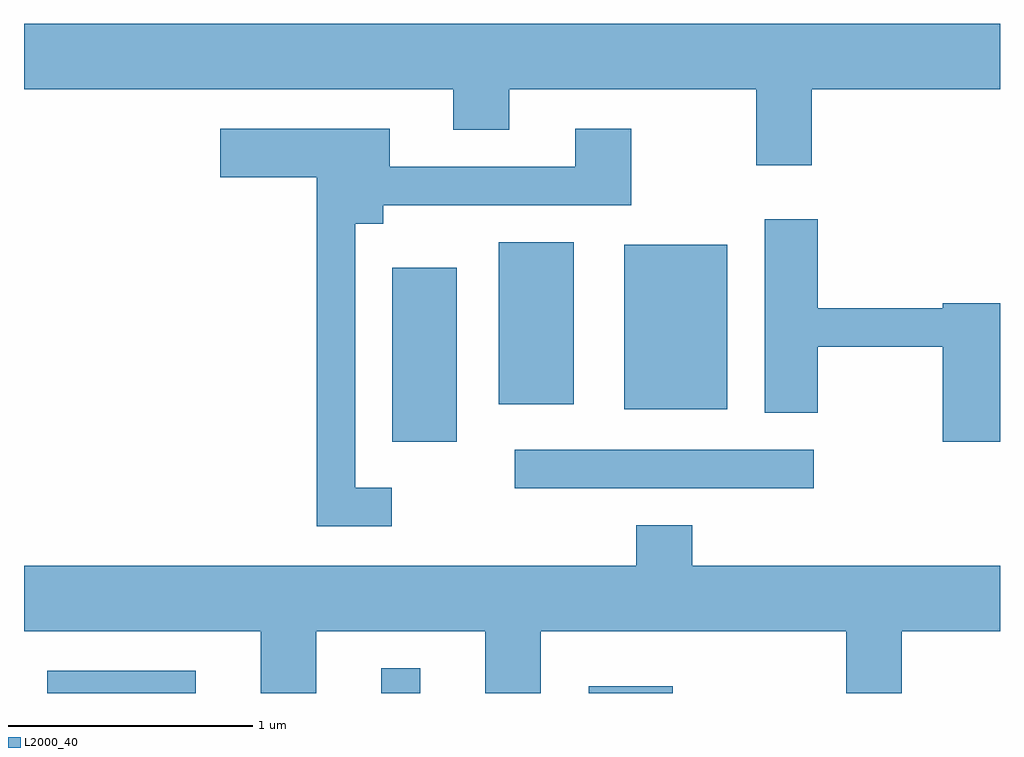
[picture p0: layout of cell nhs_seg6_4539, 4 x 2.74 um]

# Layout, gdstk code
import gdstk
lib = gdstk.Library(unit=1e-6, precision=1e-09)
def R(c, l, rs):  # rectangles x0, y0, x1, y1
    for r in rs: c.add(gdstk.rectangle(r[:2], r[2:], *l))
def P(c, l, *ps):  # polygons
    for p in ps: c.add(gdstk.Polygon(p, *l))
L2000_40 = (2000, 40)

nhs_seg6_4539 = lib.new_cell('nhs_seg6_4539')
R(nhs_seg6_4539, L2000_40, [(323.706,1614.162,324.314,1614.254), (325.076,1614.162,325.234,1614.263), (325.926,1614.162,326.269,1614.189), (325.623,1615.001,326.848,1615.159), (325.121,1615.191,325.384,1615.904), (326.071,1615.326,326.494,1615.999), (325.556,1615.346,325.864,1616.009)])
P(nhs_seg6_4539, L2000_40, [(326.839,1616.636),(327.611,1616.636),(327.611,1616.904),(323.611,1616.904),(323.611,1616.636),(325.371,1616.636),(325.371,1616.471),(325.599,1616.471),(325.599,1616.636),(326.611,1616.636),(326.611,1616.326),(326.839,1616.326)],
  [(325.118,1615.004),(324.969,1615.004),(324.969,1616.086),(325.084,1616.086),(325.084,1616.161),(326.099,1616.161),(326.099,1616.474),(325.871,1616.474),(325.871,1616.319),(325.109,1616.319),(325.109,1616.474),(324.416,1616.474),(324.416,1616.276),(324.811,1616.276),(324.811,1614.846),(325.118,1614.846)],
  [(327.611,1615.759),(327.376,1615.759),(327.376,1615.739),(326.864,1615.739),(326.864,1616.104),(326.646,1616.104),(326.646,1615.311),(326.864,1615.311),(326.864,1615.581),(327.376,1615.581),(327.376,1615.191),(327.611,1615.191)],
  [(324.809,1614.416),(325.501,1614.416),(325.501,1614.162),(325.729,1614.162),(325.729,1614.416),(326.981,1614.416),(326.981,1614.162),(327.209,1614.162),(327.209,1614.416),(327.611,1614.416),(327.611,1614.684),(326.349,1614.684),(326.349,1614.849),(326.121,1614.849),(326.121,1614.684),(323.611,1614.684),(323.611,1614.416),(324.581,1614.416),(324.581,1614.162),(324.809,1614.162)])

lib.write_gds('nhs_seg6_4539.gds')
